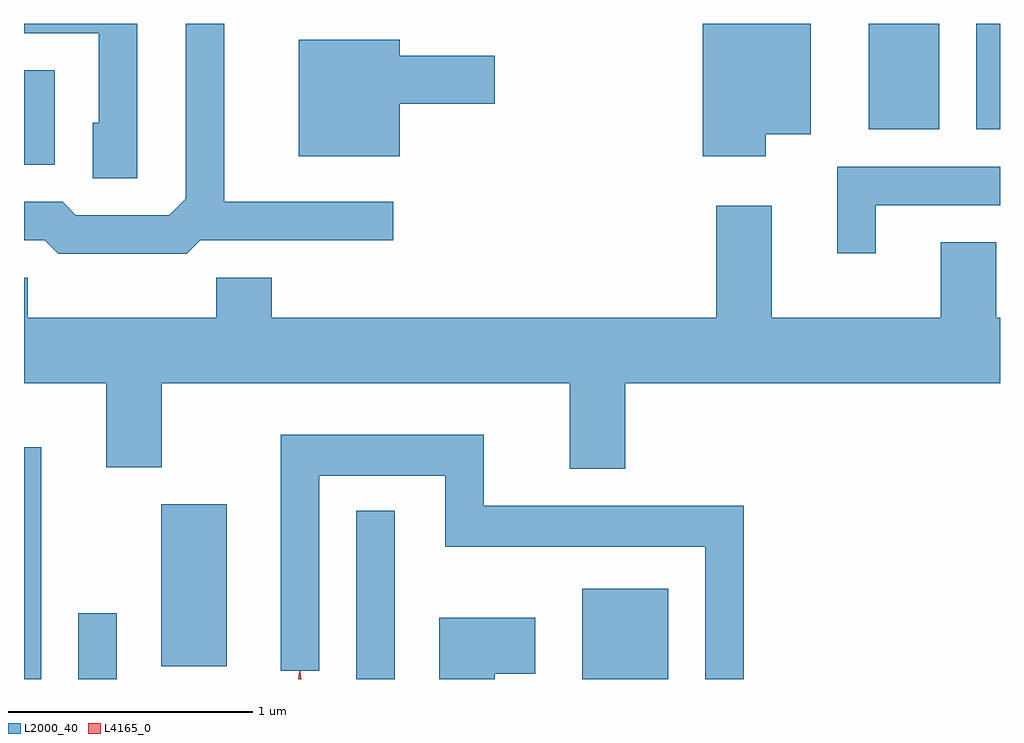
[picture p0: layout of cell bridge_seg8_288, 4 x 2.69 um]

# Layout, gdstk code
import gdstk
lib = gdstk.Library(unit=1e-6, precision=1e-09)
def R(c, l, rs):  # rectangles x0, y0, x1, y1
    for r in rs: c.add(gdstk.rectangle(r[:2], r[2:], *l))
def P(c, l, *ps):  # polygons
    for p in ps: c.add(gdstk.Polygon(p, *l))
L2000_40 = (2000, 40)
L4165_0 = (4165, 0)

bridge_seg8_288 = lib.new_cell('bridge_seg8_288')
R(bridge_seg8_288, L2000_40, [(1377.244,1806.342,1377.314,1807.294), (1377.466,1806.342,1377.624,1806.613), (1378.606,1806.342,1378.764,1807.033), (1379.531,1806.342,1379.884,1806.714), (1377.806,1806.396,1378.074,1807.059), (1377.244,1808.451,1377.369,1808.839), (1380.706,1808.596,1380.994,1809.03), (1381.146,1808.596,1381.244,1809.03)])
P(bridge_seg8_288, L2000_40, [(1380.284,1808.576),(1380.469,1808.576),(1380.469,1809.03),(1380.026,1809.03),(1380.026,1808.486),(1380.284,1808.486)],
  [(1377.967,1808.141),(1378.758,1808.141),(1378.758,1808.299),(1378.064,1808.299),(1378.064,1809.03),(1377.906,1809.03),(1377.906,1808.312),(1377.839,1808.244),(1377.457,1808.244),(1377.402,1808.299),(1377.244,1808.299),(1377.244,1808.141),(1377.329,1808.141),(1377.384,1808.086),(1377.912,1808.086)],
  [(1377.709,1809.03),(1377.244,1809.03),(1377.244,1808.991),(1377.551,1808.991),(1377.551,1808.624),(1377.526,1808.624),(1377.526,1808.396),(1377.709,1808.396)],
  [(1378.784,1808.701),(1379.174,1808.701),(1379.174,1808.899),(1378.784,1808.899),(1378.784,1808.964),(1378.371,1808.964),(1378.371,1808.486),(1378.784,1808.486)],
  [(1380.734,1808.286),(1381.244,1808.286),(1381.244,1808.444),(1380.576,1808.444),(1380.576,1808.088),(1380.734,1808.088)],
  [(1379.709,1807.556),(1381.244,1807.556),(1381.244,1807.824),(1381.229,1807.824),(1381.229,1808.134),(1381.001,1808.134),(1381.001,1807.824),(1380.309,1807.824),(1380.309,1808.284),(1380.081,1808.284),(1380.081,1807.824),(1378.259,1807.824),(1378.259,1807.989),(1378.031,1807.989),(1378.031,1807.824),(1377.259,1807.824),(1377.259,1807.989),(1377.244,1807.989),(1377.244,1807.556),(1377.581,1807.556),(1377.581,1807.211),(1377.809,1807.211),(1377.809,1807.556),(1379.481,1807.556),(1379.481,1807.206),(1379.709,1807.206)],
  [(1380.194,1807.054),(1379.129,1807.054),(1379.129,1807.344),(1378.296,1807.344),(1378.296,1806.378),(1378.454,1806.378),(1378.454,1807.176),(1378.971,1807.176),(1378.971,1806.886),(1380.036,1806.886),(1380.036,1806.342),(1380.194,1806.342)],
  [(1379.174,1806.366),(1379.339,1806.366),(1379.339,1806.594),(1378.946,1806.594),(1378.946,1806.342),(1379.174,1806.342)])
P(bridge_seg8_288, L4165_0, [(1378.37,1806.342),(1378.374,1806.376),(1378.376,1806.376),(1378.38,1806.342)],
  [(1378.367,1806.342),(1378.372,1806.372),(1378.372,1806.373),(1378.373,1806.372),(1378.377,1806.342)])

lib.write_gds('bridge_seg8_288.gds')
